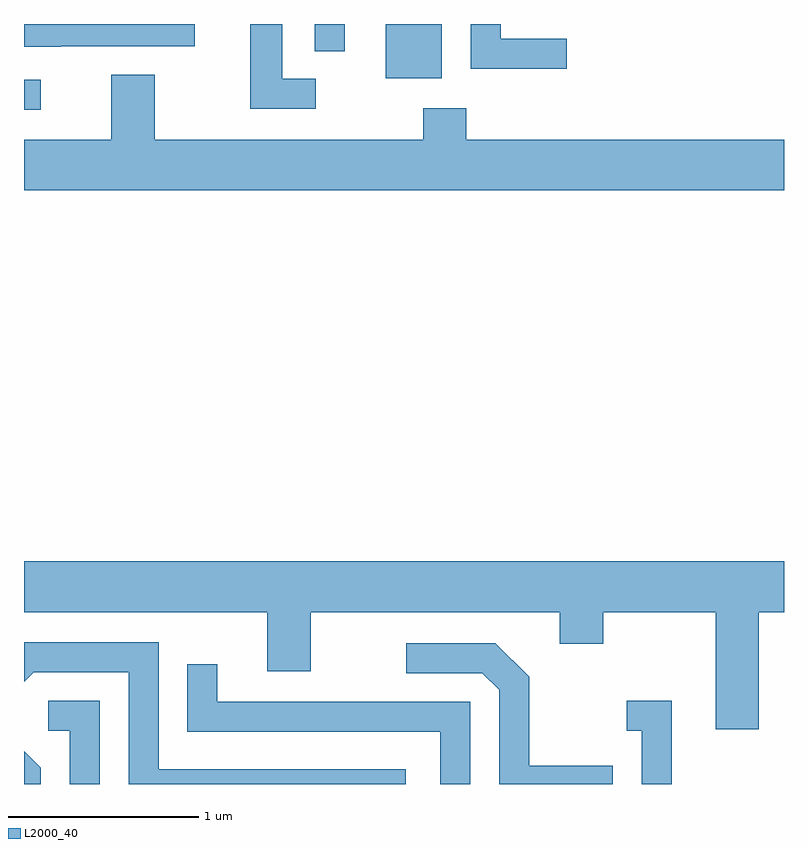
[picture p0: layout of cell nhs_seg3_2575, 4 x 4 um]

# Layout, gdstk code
import gdstk
lib = gdstk.Library(unit=1e-6, precision=1e-09)
def R(c, l, rs):  # rectangles x0, y0, x1, y1
    for r in rs: c.add(gdstk.rectangle(r[:2], r[2:], *l))
def P(c, l, *ps):  # polygons
    for p in ps: c.add(gdstk.Polygon(p, *l))
L2000_40 = (2000, 40)

nhs_seg3_2575 = lib.new_cell('nhs_seg3_2575')
R(nhs_seg3_2575, L2000_40, [(259.611,1237.441,259.698,1237.599), (261.516,1237.606,261.809,1237.892), (261.141,1237.748,261.299,1237.892)])
P(nhs_seg3_2575, L2000_40, [(261.147,1237.604),(260.969,1237.604),(260.969,1237.892),(260.801,1237.892),(260.801,1237.446),(261.147,1237.446)],
  [(259.805,1237.776),(260.509,1237.776),(260.509,1237.892),(259.611,1237.892),(259.611,1237.771),(259.805,1237.771)],
  [(262.468,1237.814),(262.119,1237.814),(262.119,1237.892),(261.961,1237.892),(261.961,1237.656),(262.468,1237.656)],
  [(263.611,1237.284),(261.939,1237.284),(261.939,1237.449),(261.711,1237.449),(261.711,1237.284),(260.299,1237.284),(260.299,1237.624),(260.071,1237.624),(260.071,1237.284),(259.611,1237.284),(259.611,1237.016),(263.611,1237.016)],
  [(263.479,1234.796),(263.611,1234.796),(263.611,1235.064),(259.611,1235.064),(259.611,1234.796),(260.891,1234.796),(260.891,1234.486),(261.119,1234.486),(261.119,1234.796),(262.431,1234.796),(262.431,1234.631),(262.659,1234.631),(262.659,1234.796),(263.251,1234.796),(263.251,1234.181),(263.479,1234.181)],
  [(261.619,1233.969),(260.319,1233.969),(260.319,1234.639),(259.611,1234.639),(259.611,1234.43),(259.662,1234.481),(260.161,1234.481),(260.161,1233.892),(261.619,1233.892)],
  [(262.709,1233.989),(262.269,1233.989),(262.269,1234.457),(262.092,1234.634),(261.623,1234.634),(261.623,1234.476),(262.024,1234.476),(262.111,1234.389),(262.111,1233.892),(262.709,1233.892)],
  [(261.959,1234.324),(260.629,1234.324),(260.629,1234.523),(260.471,1234.523),(260.471,1234.166),(261.801,1234.166),(261.801,1233.892),(261.959,1233.892)],
  [(260.009,1234.329),(259.738,1234.329),(259.738,1234.171),(259.851,1234.171),(259.851,1233.892),(260.009,1233.892)],
  [(263.019,1234.329),(262.783,1234.329),(262.783,1234.171),(262.861,1234.171),(262.861,1233.892),(263.019,1233.892)],
  [(259.699,1233.977),(259.611,1234.065),(259.611,1233.892),(259.699,1233.892)])

lib.write_gds('nhs_seg3_2575.gds')
